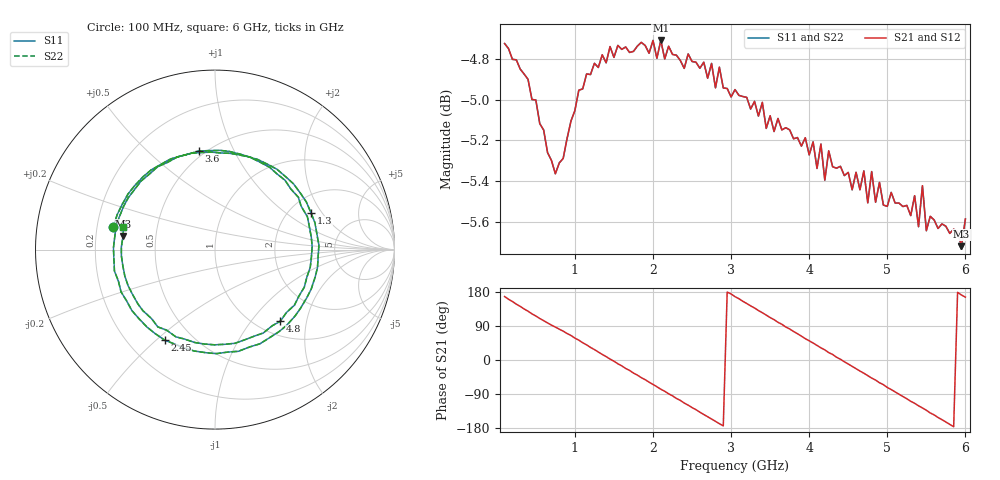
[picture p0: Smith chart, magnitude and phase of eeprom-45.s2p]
! Created with skrf 2.0.0 (http://scikit-rf.org).
# Hz S RI R 50.0
!freq ReS11 ImS11 ReS21 ImS21 ReS12 ImS12 ReS22 ImS22
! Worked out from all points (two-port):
!   119 points, 100 MHz to 6 GHz, reference 50 ohm
!   highest |S21| = -4.71 dB at 2.1 GHz (marker M1); lowest = -5.7 dB at 5.95 GHz (marker M2)
!   |S21| within 3 dB of the highest: start of sweep to end of sweep
!   lowest |S11| = -5.7 dB at 5.95 GHz (marker M3), VSWR 3.15, Z = 16 + j3.33 ohm
!   |S11| at or under -10 dB: nowhere
!   |S22| runs from -5.7 to -4.7 dB; largest |S21 - S12| = 0
!   S11 on the Smith chart (normalised r, x): 100 MHz: 0.27, +0.10; 1.3 GHz: 2.59, +1.59; 2.45 GHz: 0.35, -0.53; 3.6 GHz: 0.46, +0.74; 4.8 GHz: 1.26, -1.41; 6 GHz: 0.32, +0.11
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1e8  -0.5665 0.1264  -0.5665 0.1264  -0.5665 0.1264  -0.5665 0.1264
3.5e8  -0.4005 0.4064  -0.4005 0.4064  -0.4005 0.4064  -0.4005 0.4064
6e8  -0.1318 0.5369  -0.1318 0.5369  -0.1318 0.5369  -0.1318 0.5369
9e8  0.1893 0.5166  0.1893 0.5166  0.1893 0.5166  0.1893 0.5166
1.1e9  0.3966 0.4035  0.3966 0.4035  0.3966 0.4035  0.3966 0.4035
1.3e9  0.5345 0.2056  0.5345 0.2056  0.5345 0.2056  0.5345 0.2056
1.7e9  0.5125 -0.2662  0.5125 -0.2662  0.5125 -0.2662  0.5125 -0.2662
2.1e9  0.1301 -0.5667  0.1301 -0.5667  0.1301 -0.5667  0.1301 -0.5667
2.45e9  -0.2805 -0.5043  -0.2805 -0.5043  -0.2805 -0.5043  -0.2805 -0.5043
2.75e9  -0.5235 -0.2354  -0.5235 -0.2354  -0.5235 -0.2354  -0.5235 -0.2354
3.05e9  -0.5513 0.1261  -0.5513 0.1261  -0.5513 0.1261  -0.5513 0.1261
3.3e9  -0.4127 0.3812  -0.4127 0.3812  -0.4127 0.3812  -0.4127 0.3812
3.6e9  -0.0914 0.5489  -0.0914 0.5489  -0.0914 0.5489  -0.0914 0.5489
3.85e9  0.1937 0.5152  0.1937 0.5152  0.1937 0.5152  0.1937 0.5152
4.05e9  0.3899 0.3867  0.3899 0.3867  0.3899 0.3867  0.3899 0.3867
4.4e9  0.5413 0.0189  0.5413 0.0189  0.5413 0.0189  0.5413 0.0189
4.8e9  0.3636 -0.3992  0.3636 -0.3992  0.3636 -0.3992  0.3636 -0.3992
5.05e9  0.1115 -0.5219  0.1115 -0.5219  0.1115 -0.5219  0.1115 -0.5219
5.45e9  -0.3186 -0.4306  -0.3186 -0.4306  -0.3186 -0.4306  -0.3186 -0.4306
5.7e9  -0.4845 -0.2004  -0.4845 -0.2004  -0.4845 -0.2004  -0.4845 -0.2004
5.95e9  -0.512 0.0764  -0.512 0.0764  -0.512 0.0764  -0.512 0.0764
6e9  -0.5099 0.1279  -0.5099 0.1279  -0.5099 0.1279  -0.5099 0.1279
